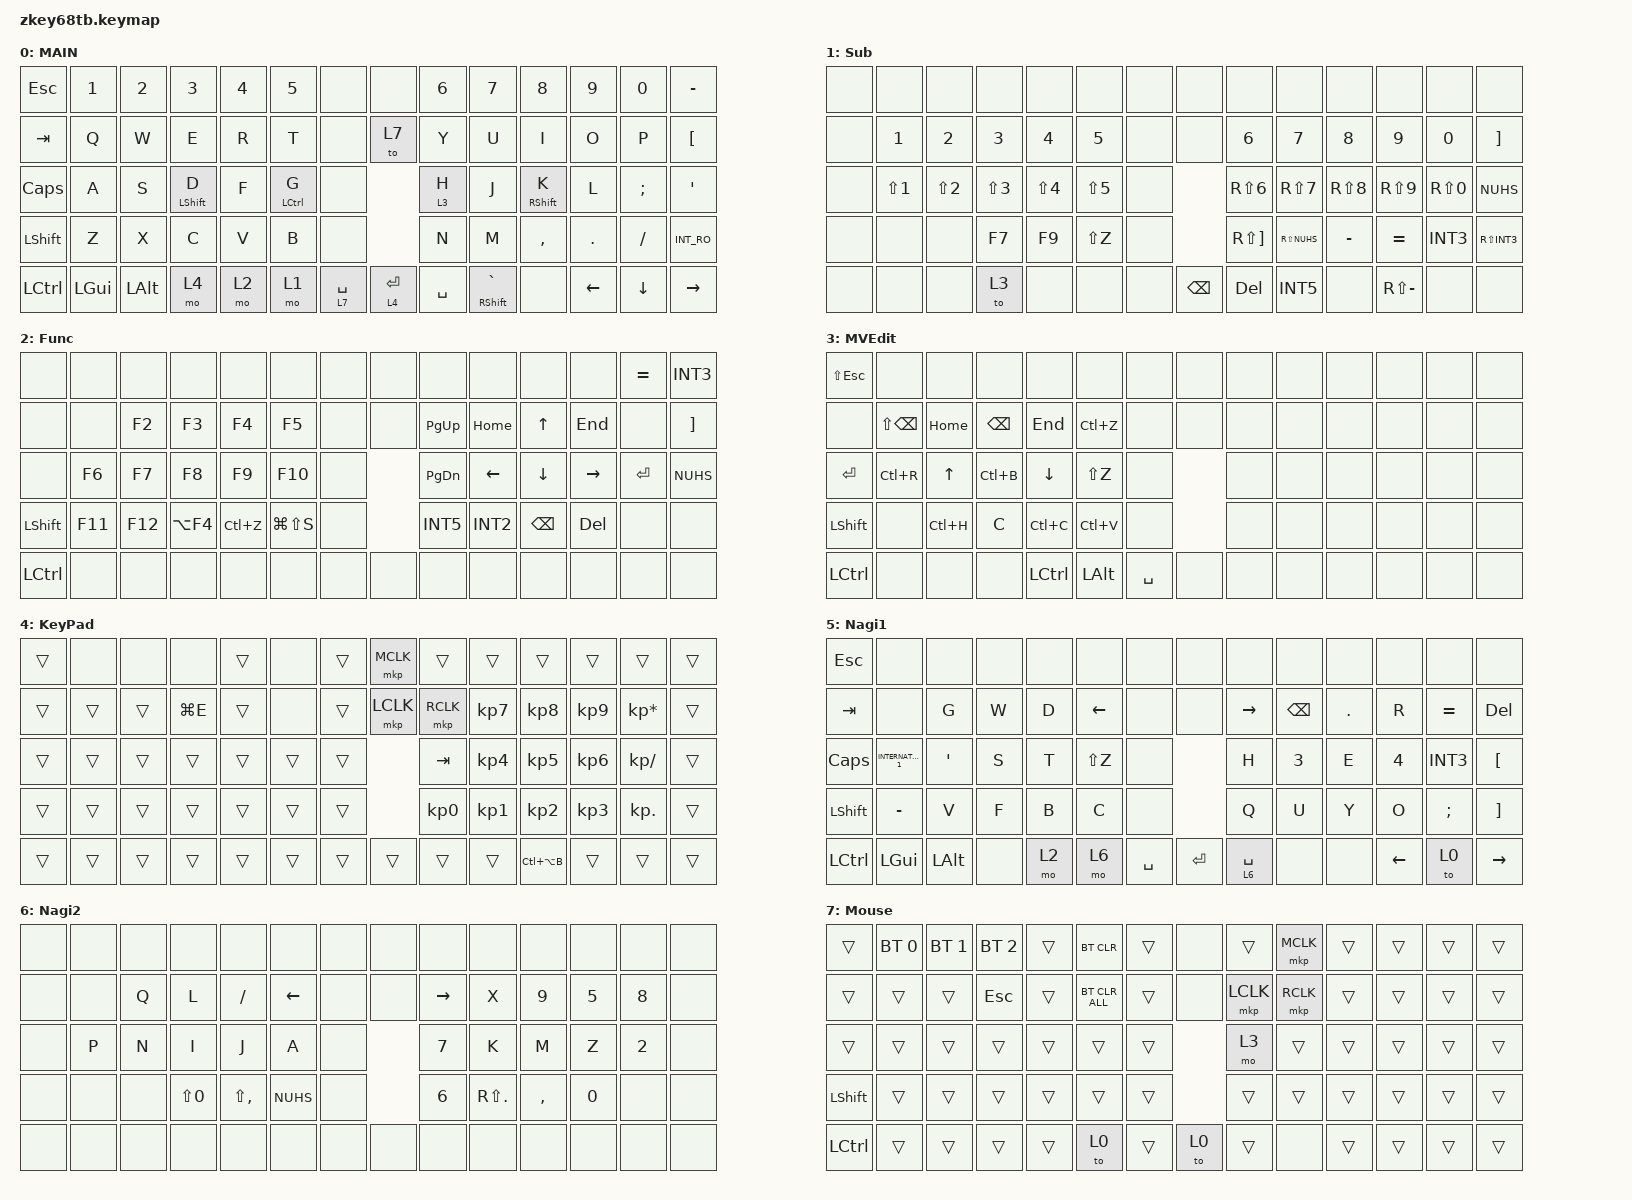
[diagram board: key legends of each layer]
#include <behaviors.dtsi>
#include <dt-bindings/zmk/bt.h>
#include <dt-bindings/zmk/keys.h>
#include <dt-bindings/zmk/pointing.h>

&lt {
    tapping-term-ms = <180>;
    quick-tap-ms = <150>;
    flavor = "balanced";
};

&mt {
    tapping-term-ms = <180>;
    quick-tap-ms = <150>;
    flavor = "balanced";
};

/ {
    combos {
        compatible = "zmk,combos";

        Main {
            bindings = <&to 0>;
            key-positions = <16 18>;
        };

        MVEdit {
            bindings = <&to 3>;
            key-positions = <31 32 30>;
        };

        SoftOff {
            bindings = <&soft_off>;
            key-positions = <0 1 12 13>;
        };

        Kana_Roma_Toggle {
            bindings = <&kp LA(INT_KANA)>;
            key-positions = <11 12 13>;
        };

        cbSingleQ {
            bindings = <&SingleQ>;
            key-positions = <23 24>;
            layers = <0>;
        };

        cbDoubleQ {
            bindings = <&DoubleQ>;
            key-positions = <36 37>;
            layers = <0>;
        };

        cbKakkoNami {
            bindings = <&KakkozNami>;
            key-positions = <49 50>;
            layers = <0>;
        };

        cbKakkoMaru {
            bindings = <&KakkoMaru>;
            key-positions = <24 25>;
            layers = <0>;
        };

        KakkoKagi {
            bindings = <&KakkoKagi>;
            key-positions = <37 38>;
            layers = <0>;
        };

        cbCommand {
            bindings = <&kp LA(LG(SPACE))>;
            key-positions = <62 38>;
        };

        cbLauncher {
            bindings = <&kp LA(SPACE)>;
            key-positions = <62 37>;
        };

        cbCtrlA {
            bindings = <&kp LC(A)>;
            key-positions = <29 30>;
        };

        cbCtrlC {
            bindings = <&kp LC(C)>;
            key-positions = <31 30>;
        };

        cbCtrlV {
            bindings = <&kp LC(V)>;
            key-positions = <32 31>;
        };

        cbCtrlZ {
            bindings = <&kp LC(Z)>;
            key-positions = <42 43>;
        };

        cbCtrlX {
            bindings = <&kp LC(X)>;
            key-positions = <30 32>;
        };

        cbEnter {
            bindings = <&kp ENTER>;
            key-positions = <46 45>;
        };

        // Naginata

        cb_ng_on {
            timeout-ms = <300>;
            key-positions = <8 9 10>;
            bindings = <&ng_on>;
            layers = <0>;
        };

        cb_ng_off {
            timeout-ms = <300>;
            key-positions = <2 4>;
            bindings = <&ng_off>;
            layers = <5>;
        };

        n_ga {
            bindings = <&n_ga>;
            key-positions = <36 32>;
            layers = <5>;
            timeout-ms = <180>;
        };

        n_gi {
            bindings = <&n_gi>;
            key-positions = <36 16>;
            timeout-ms = <180>;
            layers = <5>;
        };

        n_gu {
            bindings = <&n_gu>;
            key-positions = <32 35>;
            timeout-ms = <180>;
            layers = <5>;
        };

        n_ge {
            bindings = <&n_ge>;
            key-positions = <36 30>;
            timeout-ms = <180>;
            layers = <5>;
        };

        n_go {
            bindings = <&n_go>;
            key-positions = <36 45>;
            timeout-ms = <180>;
            layers = <5>;
        };

        n_za {
            bindings = <&n_za>;
            key-positions = <23 32>;
            timeout-ms = <180>;
            layers = <5>;
        };

        n_ji {
            bindings = <&n_ji>;
            key-positions = <36 18>;
            timeout-ms = <180>;
            layers = <5>;
        };

        n_zu {
            bindings = <&n_zu>;
            key-positions = <25 32>;
            timeout-ms = <180>;
            layers = <5>;
        };

        n_ze {
            bindings = <&n_ze>;
            key-positions = <36 29>;
            timeout-ms = <180>;
            layers = <5>;
        };

        n_zo {
            bindings = <&n_zo>;
            key-positions = <46 36>;
            timeout-ms = <180>;
            layers = <5>;
        };

        n_da {
            bindings = <&n_da>;
            key-positions = <48 32>;
            layers = <5>;
            timeout-ms = <180>;
        };

        n_di {
            bindings = <&n_di>;
            key-positions = <33 36>;
            timeout-ms = <180>;
            layers = <5>;
        };

        n_du {
            bindings = <&n_du>;
            key-positions = <38 32>;
            timeout-ms = <180>;
            layers = <5>;
        };

        n_de {
            bindings = <&n_de>;
            key-positions = <36 17>;
            timeout-ms = <180>;
            layers = <5>;
        };

        n_do {
            bindings = <&n_do>;
            key-positions = <36 31>;
            timeout-ms = <180>;
            layers = <5>;
        };

        n_xa {
            bindings = <&kp LS(NUMBER_3)>;
            key-positions = <36 15>;
            timeout-ms = <180>;
            layers = <5>;
        };

        n_xi {
            bindings = <&kp LS(E)>;
            key-positions = <37 15>;
            timeout-ms = <180>;
            layers = <5>;
        };

        n_xu {
            bindings = <&kp LS(N4)>;
            key-positions = <38 15>;
            timeout-ms = <180>;
            layers = <5>;
        };

        n_xe {
            bindings = <&kp LS(NUMBER_5)>;
            key-positions = <15 25>;
            timeout-ms = <180>;
            layers = <5>;
        };

        x_xo {
            bindings = <&kp LS(N6)>;
            key-positions = <1 48>;
            timeout-ms = <180>;
            layers = <5>;
        };

        n_xya {
            bindings = <&kp LS(NUMBER_7)>;
            key-positions = <15 35>;
            timeout-ms = <180>;
            layers = <5>;
        };

        n_xyu {
            bindings = <&kp LS(N8)>;
            key-positions = <15 25>;
            timeout-ms = <180>;
            layers = <5>;
        };

        n_xyo {
            bindings = <&kp LS(N9)>;
            key-positions = <15 24>;
            timeout-ms = <180>;
            layers = <5>;
        };

        n_kya {
            bindings = <&n_kya>;
            key-positions = <16 35>;
            timeout-ms = <180>;
            layers = <5>;
        };

        n_kyu {
            bindings = <&n_kyu>;
            key-positions = <16 25>;
            timeout-ms = <180>;
            layers = <5>;
        };

        n_kyo {
            bindings = <&n_kyo>;
            key-positions = <16 24>;
            timeout-ms = <180>;
            layers = <5>;
        };

        n_sya {
            bindings = <&n_sya>;
            key-positions = <18 35>;
            timeout-ms = <180>;
            layers = <5>;
        };

        n_syu {
            bindings = <&n_syu>;
            key-positions = <18 25>;
            timeout-ms = <180>;
            layers = <5>;
        };

        n_syo {
            bindings = <&n_syo>;
            key-positions = <18 24>;
            timeout-ms = <180>;
            layers = <5>;
        };

        n_cya {
            bindings = <&n_cya>;
            key-positions = <33 35>;
            timeout-ms = <180>;
            layers = <5>;
        };

        n_cyu {
            bindings = <&n_cyu>;
            key-positions = <33 26>;
            timeout-ms = <180>;
            layers = <5>;
        };

        n_cyo {
            bindings = <&n_cyo>;
            key-positions = <33 24>;
            timeout-ms = <180>;
            layers = <5>;
        };

        n_nya {
            bindings = <&n_nya>;
            key-positions = <32 35>;
            timeout-ms = <180>;
            layers = <5>;
        };

        n_nyu {
            bindings = <&n_nyu>;
            key-positions = <32 26>;
            timeout-ms = <180>;
            layers = <5>;
        };

        n_nyo {
            bindings = <&n_nyo>;
            key-positions = <32 25>;
            timeout-ms = <180>;
            layers = <5>;
        };

        n_hya {
            bindings = <&n_hya>;
            key-positions = <43 35>;
            timeout-ms = <180>;
            layers = <5>;
        };

        n_hyu {
            bindings = <&n_hyu>;
            key-positions = <43 26>;
            timeout-ms = <180>;
            layers = <5>;
        };

        n_hyo {
            bindings = <&n_hyo>;
            key-positions = <43 24>;
            timeout-ms = <180>;
            layers = <5>;
        };

        n_mya {
            bindings = <&n_mya>;
            key-positions = <30 35>;
            timeout-ms = <180>;
            layers = <5>;
        };

        n_myu {
            bindings = <&n_myu>;
            key-positions = <30 26>;
            timeout-ms = <180>;
            layers = <5>;
        };

        n_myo {
            bindings = <&n_myo>;
            key-positions = <30 24>;
            timeout-ms = <180>;
            layers = <5>;
        };

        n_rya {
            bindings = <&n_rya>;
            key-positions = <18 35>;
            timeout-ms = <180>;
            layers = <5>;
        };

        n_ryu {
            bindings = <&n_ryu>;
            key-positions = <18 26>;
            timeout-ms = <180>;
            layers = <5>;
        };

        n_ryo {
            bindings = <&n_ryo>;
            key-positions = <18 24>;
            timeout-ms = <180>;
            layers = <5>;
        };

        n_gya {
            bindings = <&n_gya>;
            key-positions = <16 35 36>;
            timeout-ms = <180>;
            layers = <5>;
        };

        n_gyu {
            bindings = <&n_gyu>;
            key-positions = <16 36 26>;
            timeout-ms = <180>;
            layers = <5>;
        };

        n_gyo {
            bindings = <&n_gyo>;
            key-positions = <16 36 24>;
            timeout-ms = <180>;
            layers = <5>;
        };

        n_jya {
            bindings = <&n_jya>;
            key-positions = <18 35 36>;
            timeout-ms = <180>;
            layers = <5>;
        };

        n_jyu {
            bindings = <&n_jyu>;
            key-positions = <18 36 26>;
            timeout-ms = <180>;
            layers = <5>;
        };

        n_jyo {
            bindings = <&n_jyo>;
            key-positions = <18 36 24>;
            timeout-ms = <180>;
            layers = <5>;
        };

        n_dya {
            bindings = <&n_dya>;
            key-positions = <33 35 36>;
            timeout-ms = <180>;
            layers = <5>;
        };

        n_dyu {
            bindings = <&n_dyu>;
            key-positions = <33 36 26>;
            timeout-ms = <180>;
            layers = <5>;
        };

        n_dyo {
            bindings = <&n_dyo>;
            key-positions = <33 36 24>;
            timeout-ms = <180>;
            layers = <5>;
        };

        n_bya {
            bindings = <&n_bya>;
            key-positions = <43 35 36>;
            timeout-ms = <180>;
            layers = <5>;
        };

        n_byu {
            bindings = <&n_byu>;
            key-positions = <43 36 26>;
            timeout-ms = <180>;
            layers = <5>;
        };

        n_byo {
            bindings = <&n_byo>;
            key-positions = <43 36 24>;
            timeout-ms = <180>;
            layers = <5>;
        };

        n_pya {
            bindings = <&n_pya>;
            key-positions = <43 35 49>;
            timeout-ms = <180>;
            layers = <5>;
        };

        n_pyu {
            bindings = <&n_pyu>;
            key-positions = <43 49 26>;
            timeout-ms = <180>;
            layers = <5>;
        };

        n_pyo {
            bindings = <&n_pyo>;
            key-positions = <43 49 24>;
            timeout-ms = <180>;
            layers = <5>;
        };

        n_thi {
            bindings = <&n_thi>;
            key-positions = <17 37>;
            timeout-ms = <180>;
            layers = <5>;
        };

        n_twu {
            bindings = <&n_twu>;
            key-positions = <17 38>;
            timeout-ms = <180>;
            layers = <5>;
        };

        n_dei {
            bindings = <&n_dei>;
            key-positions = <17 36 37>;
            timeout-ms = <180>;
            layers = <5>;
        };

        n_dwu {
            bindings = <&n_dwu>;
            key-positions = <31 36 38>;
            timeout-ms = <180>;
            layers = <5>;
        };

        n_thu {
            bindings = <&n_thu>;
            key-positions = <17 26>;
            timeout-ms = <180>;
            layers = <5>;
        };

        n_dhu {
            bindings = <&n_dhu>;
            key-positions = <17 36 26>;
            timeout-ms = <180>;
            layers = <5>;
        };

        n_shie {
            bindings = <&n_shie>;
            key-positions = <19 25>;
            timeout-ms = <180>;
            layers = <5>;
        };

        n_chie {
            bindings = <&n_chie>;
            key-positions = <33 25>;
            timeout-ms = <180>;
            layers = <5>;
        };

        n_jie {
            bindings = <&n_jie>;
            key-positions = <19 36 25>;
            timeout-ms = <180>;
            layers = <5>;
        };

        n_je {
            bindings = <&n_je>;
            key-positions = <33 36 25>;
            timeout-ms = <180>;
            layers = <5>;
        };
    };

    macros {
        KanaToLY0: KanaToLY0 {
            compatible = "zmk,behavior-macro";
            #binding-cells = <0>;
            bindings = <&kp INT2>, <&macro_wait_time 20>, <&to 0>;

            label = "KANATOLY0";
        };

        SingleQ: SingleQ {
            compatible = "zmk,behavior-macro";
            #binding-cells = <0>;
            bindings = <&kp LS(N7) &kp LS(N7) &kp LEFT>;
            label = "SINGLEQ";
        };

        DoubleQ: DoubleQ {
            compatible = "zmk,behavior-macro";
            #binding-cells = <0>;
            bindings = <&kp LS(N2) &kp LS(N2) &kp LEFT>;
            label = "DOUBLEQ";
        };

        KakkoKagi: KakkoKagi {
            compatible = "zmk,behavior-macro";
            #binding-cells = <0>;
            bindings = <&kp LS(RIGHT_BRACKET) &kp LS(NUHS) &kp LEFT>;
            label = "KAKKOKAGI";
        };

        KakkozNami: KakkozNami {
            compatible = "zmk,behavior-macro";
            #binding-cells = <0>;
            bindings = <&kp RIGHT_BRACKET &kp NUHS &kp LEFT>;
            label = "KAKKOZNAMI";
        };

        KakkoMaru: KakkoMaru {
            compatible = "zmk,behavior-macro";
            #binding-cells = <0>;
            bindings = <&kp LS(N8) &kp LS(N9) &kp LEFT>;
            label = "KAKKOMARU";
        };

        // Naginata

        ng_on: ng_on {
            compatible = "zmk,behavior-macro";
            #binding-cells = <0>;
            bindings = <&macro_tap>, <&kp LANG1 &kp INT4 &to 5>;

            label = "NG_ON";
        };

        ng_off: ng_off {
            compatible = "zmk,behavior-macro";
            #binding-cells = <0>;
            bindings = <&macro_tap>, <&kp LANG2 &kp INT5 &to 0>;

            label = "NG_OFF";
        };

        n_ga: n_ga {
            compatible = "zmk,behavior-macro";
            #binding-cells = <0>;
            bindings = <&kp T &kp LEFT_BRACKET>;
            label = "N_GA";
        };

        n_gi: n_gi {
            compatible = "zmk,behavior-macro";
            #binding-cells = <0>;
            bindings = <&kp G &kp LEFT_BRACKET>;
            label = "N_GI";
        };

        n_gu: n_gu {
            compatible = "zmk,behavior-macro";
            #binding-cells = <0>;
            bindings = <&kp H &kp LEFT_BRACKET>;
            label = "N_GU";
        };

        n_ge: n_ge {
            compatible = "zmk,behavior-macro";
            #binding-cells = <0>;
            bindings = <&kp SQT &kp LEFT_BRACKET>;
            label = "N_GE";
        };

        n_go: n_go {
            compatible = "zmk,behavior-macro";
            #binding-cells = <0>;
            bindings = <&kp B &kp LEFT_BRACKET>;
            label = "N_GO";
        };

        n_za: n_za {
            compatible = "zmk,behavior-macro";
            #binding-cells = <0>;
            bindings = <&kp X &kp LEFT_BRACKET>;
            label = "N_ZA";
        };

        n_ji: n_ji {
            compatible = "zmk,behavior-macro";
            #binding-cells = <0>;
            bindings = <&kp D &kp LEFT_BRACKET>;
            label = "N_JI";
        };

        n_zu: n_zu {
            compatible = "zmk,behavior-macro";
            #binding-cells = <0>;
            bindings = <&kp R &kp LEFT_BRACKET>;
            label = "N_ZU";
        };

        n_ze: n_ze {
            compatible = "zmk,behavior-macro";
            #binding-cells = <0>;
            bindings = <&kp P &kp LEFT_BRACKET>;
            label = "N_ZE";
        };

        n_zo: n_zo {
            compatible = "zmk,behavior-macro";
            #binding-cells = <0>;
            bindings = <&kp C &kp LEFT_BRACKET>;
            label = "N_ZO";
        };

        n_da: n_da {
            compatible = "zmk,behavior-macro";
            #binding-cells = <0>;
            bindings = <&kp Q &kp LEFT_BRACKET>;
            label = "N_DA";
        };

        n_di: n_di {
            compatible = "zmk,behavior-macro";
            #binding-cells = <0>;
            bindings = <&kp A &kp LEFT_BRACKET>;
            label = "N_DI";
        };

        n_du: n_du {
            compatible = "zmk,behavior-macro";
            #binding-cells = <0>;
            bindings = <&kp Z &kp LEFT_BRACKET>;
            label = "N_DU";
        };

        n_de: n_de {
            compatible = "zmk,behavior-macro";
            #binding-cells = <0>;
            bindings = <&kp W &kp LEFT_BRACKET>;
            label = "N_DE";
        };

        n_do: n_do {
            compatible = "zmk,behavior-macro";
            #binding-cells = <0>;
            bindings = <&kp S &kp LEFT_BRACKET>;
            label = "N_DO";
        };

        n_kya: n_kya {
            compatible = "zmk,behavior-macro";
            #binding-cells = <0>;
            bindings = <&kp G &kp LS(N7)>;
            label = "N_KYA";
        };

        n_kyu: n_kyu {
            compatible = "zmk,behavior-macro";
            #binding-cells = <0>;
            bindings = <&kp G &kp LS(N8)>;
            label = "N_KYU";
        };

        n_kyo: n_kyo {
            compatible = "zmk,behavior-macro";
            #binding-cells = <0>;
            bindings = <&kp G &kp LS(N9)>;
            label = "N_KYO";
        };

        n_sya: n_sya {
            compatible = "zmk,behavior-macro";
            #binding-cells = <0>;
            bindings = <&kp D &kp LS(N7)>;
            label = "N_SYA";
        };

        n_syu: n_syu {
            compatible = "zmk,behavior-macro";
            #binding-cells = <0>;
            bindings = <&kp D &kp LS(N8)>;
            label = "N_SYU";
        };

        n_syo: n_syo {
            compatible = "zmk,behavior-macro";
            #binding-cells = <0>;
            bindings = <&kp D &kp LS(N9)>;
            label = "N_SYO";
        };

        n_cya: n_cya {
            compatible = "zmk,behavior-macro";
            #binding-cells = <0>;
            bindings = <&kp A &kp LS(N7)>;
            label = "N_CYA";
        };

        n_cyu: n_cyu {
            compatible = "zmk,behavior-macro";
            #binding-cells = <0>;
            bindings = <&kp A &kp LS(N8)>;
            label = "N_CYU";
        };

        n_cyo: n_cyo {
            compatible = "zmk,behavior-macro";
            #binding-cells = <0>;
            bindings = <&kp A &kp LS(N9)>;
            label = "N_CYO";
        };

        n_nya: n_nya {
            compatible = "zmk,behavior-macro";
            #binding-cells = <0>;
            bindings = <&kp I &kp LS(N7)>;
            label = "N_NYA";
        };

        n_nyu: n_nyu {
            compatible = "zmk,behavior-macro";
            #binding-cells = <0>;
            bindings = <&kp I &kp LS(N8)>;
            label = "N_NYU";
        };

        n_nyo: n_nyo {
            compatible = "zmk,behavior-macro";
            #binding-cells = <0>;
            bindings = <&kp I &kp LS(N9)>;
            label = "N_NYO";
        };

        n_hya: n_hya {
            compatible = "zmk,behavior-macro";
            #binding-cells = <0>;
            bindings = <&kp V &kp LS(N7)>;
            label = "N_HYA";
        };

        n_hyu: n_hyu {
            compatible = "zmk,behavior-macro";
            #binding-cells = <0>;
            bindings = <&kp V &kp LS(N8)>;
            label = "N_HYU";
        };

        n_hyo: n_hyo {
            compatible = "zmk,behavior-macro";
            #binding-cells = <0>;
            bindings = <&kp V &kp LS(N9)>;
            label = "N_HYO";
        };

        n_mya: n_mya {
            compatible = "zmk,behavior-macro";
            #binding-cells = <0>;
            bindings = <&kp N &kp LS(N7)>;
            label = "N_MYA";
        };

        n_myu: n_myu {
            compatible = "zmk,behavior-macro";
            #binding-cells = <0>;
            bindings = <&kp N &kp LS(N8)>;
            label = "N_MYU";
        };

        n_myo: n_myo {
            compatible = "zmk,behavior-macro";
            #binding-cells = <0>;
            bindings = <&kp N &kp LS(N9)>;
            label = "N_MYO";
        };

        n_rya: n_rya {
            compatible = "zmk,behavior-macro";
            #binding-cells = <0>;
            bindings = <&kp L &kp LS(N7)>;
            label = "N_RYA";
        };

        n_ryu: n_ryu {
            compatible = "zmk,behavior-macro";
            #binding-cells = <0>;
            bindings = <&kp L &kp LS(N8)>;
            label = "N_RYU";
        };

        n_ryo: n_ryo {
            compatible = "zmk,behavior-macro";
            #binding-cells = <0>;
            bindings = <&kp L &kp LS(N9)>;
            label = "N_RYO";
        };

        n_gya: n_gya {
            compatible = "zmk,behavior-macro";
            #binding-cells = <0>;
            bindings = <&kp G &kp LEFT_BRACKET &kp LS(N7)>;
            label = "N_GYA";
        };

        n_gyu: n_gyu {
            compatible = "zmk,behavior-macro";
            #binding-cells = <0>;
            bindings = <&kp G &kp LEFT_BRACKET &kp LS(N8)>;
            label = "N_GYU";
        };

        n_gyo: n_gyo {
            compatible = "zmk,behavior-macro";
            #binding-cells = <0>;
            bindings = <&kp G &kp LEFT_BRACKET &kp LS(N9)>;
            label = "N_GYO";
        };

        n_jya: n_jya {
            compatible = "zmk,behavior-macro";
            #binding-cells = <0>;
            bindings = <&kp D &kp LEFT_BRACKET &kp LS(N7)>;
            label = "N_JYA";
        };

        n_jyu: n_jyu {
            compatible = "zmk,behavior-macro";
            #binding-cells = <0>;
            bindings = <&kp D &kp LEFT_BRACKET &kp LS(N8)>;
            label = "N_JYU";
        };

        n_jyo: n_jyo {
            compatible = "zmk,behavior-macro";
            #binding-cells = <0>;
            bindings = <&kp D &kp LEFT_BRACKET &kp LS(N9)>;
            label = "N_JYO";
        };

        n_dya: n_dya {
            compatible = "zmk,behavior-macro";
            #binding-cells = <0>;
            bindings = <&kp A &kp LEFT_BRACKET &kp LS(N7)>;
            label = "N_DYA";
        };

        n_dyu: n_dyu {
            compatible = "zmk,behavior-macro";
            #binding-cells = <0>;
            bindings = <&kp A &kp LEFT_BRACKET &kp LS(N8)>;
            label = "N_DYU";
        };

        n_dyo: n_dyo {
            compatible = "zmk,behavior-macro";
            #binding-cells = <0>;
            bindings = <&kp A &kp LEFT_BRACKET &kp LS(N9)>;
            label = "N_DYO";
        };

        n_bya: n_bya {
            compatible = "zmk,behavior-macro";
            #binding-cells = <0>;
            bindings = <&kp V &kp LEFT_BRACKET &kp LS(N7)>;
            label = "N_BYA";
        };

        n_byu: n_byu {
            compatible = "zmk,behavior-macro";
            #binding-cells = <0>;
            bindings = <&kp V &kp LEFT_BRACKET &kp LS(N8)>;
            label = "N_BYU";
        };

        n_byo: n_byo {
            compatible = "zmk,behavior-macro";
            #binding-cells = <0>;
            bindings = <&kp V &kp LEFT_BRACKET &kp LS(N9)>;
            label = "N_BYO";
        };

        n_pya: n_pya {
            compatible = "zmk,behavior-macro";
            #binding-cells = <0>;
            bindings = <&kp V &kp RIGHT_BRACKET &kp LS(N7)>;
            label = "N_PYA";
        };

        n_pyu: n_pyu {
            compatible = "zmk,behavior-macro";
            #binding-cells = <0>;
            bindings = <&kp V &kp RIGHT_BRACKET &kp LS(N8)>;
            label = "N_PYU";
        };

        n_pyo: n_pyo {
            compatible = "zmk,behavior-macro";
            #binding-cells = <0>;
            bindings = <&kp V &kp RIGHT_BRACKET &kp LS(N9)>;
            label = "N_PYO";
        };

        n_thi: n_thi {
            compatible = "zmk,behavior-macro";
            #binding-cells = <0>;
            bindings = <&kp W &kp LS(E)>;
            label = "N_THI";
        };

        n_twu: n_twu {
            compatible = "zmk,behavior-macro";
            #binding-cells = <0>;
            bindings = <&kp S &kp LS(N4)>;
            label = "N_TWU";
        };

        n_dei: n_dei {
            compatible = "zmk,behavior-macro";
            #binding-cells = <0>;
            bindings = <&kp W &kp LEFT_BRACKET &kp LS(E)>;
            label = "N_DEI";
        };

        n_dwu: n_dwu {
            compatible = "zmk,behavior-macro";
            #binding-cells = <0>;
            bindings = <&kp S &kp LEFT_BRACKET &kp LS(N4)>;
            label = "N_DWU";
        };

        n_thu: n_thu {
            compatible = "zmk,behavior-macro";
            #binding-cells = <0>;
            bindings = <&kp W &kp LS(N8)>;
            label = "N_THU";
        };

        n_dhu: n_dhu {
            compatible = "zmk,behavior-macro";
            #binding-cells = <0>;
            bindings = <&kp W &kp LEFT_BRACKET &kp LS(N8)>;
            label = "N_DHU";
        };

        n_shie: n_shie {
            compatible = "zmk,behavior-macro";
            #binding-cells = <0>;
            bindings = <&kp D &kp LS(N5)>;
            label = "N_SHIE";
        };

        n_chie: n_chie {
            compatible = "zmk,behavior-macro";
            #binding-cells = <0>;
            bindings = <&kp A &kp LS(N5)>;
            label = "N_CHIE";
        };

        n_jie: n_jie {
            compatible = "zmk,behavior-macro";
            #binding-cells = <0>;
            bindings = <&kp D &kp LEFT_BRACKET &kp LS(N5)>;
            label = "N_JIE";
        };

        n_je: n_je {
            compatible = "zmk,behavior-macro";
            #binding-cells = <0>;
            bindings = <&kp A &kp LEFT_BRACKET &kp LS(N5)>;
            label = "N_JE";
        };
    };

    behaviors {
        hm: homerow_mods {
            compatible = "zmk,behavior-hold-tap";
            label = "homerow_mods";
            bindings = <&kp>, <&kp>;

            #binding-cells = <2>;
            tapping-term-ms = <200>;
            flavor = "tap-preferred";
        };

        lt_repeat: lt_repeat {
            compatible = "zmk,behavior-hold-tap";
            label = "LAYER_TAP_REPEAT";
            bindings = <&mo>, <&kp>;

            #binding-cells = <2>;
            flavor = "hold-preferred";  // 長押しを少し強めに優先
            tapping-term-ms = <1000>;   // 長押し判定 (好みに応じて200～300で調整)
            quick-tap-ms = <900>;       // タップ+長押しでリピートさせる時間
        };
    };

    keymap {
        compatible = "zmk,keymap";

        Main {
            bindings = <
&kp ESC    &kp N1    &kp N2    &kp N3            &kp N4  &kp N5       &none               &none               &kp NUMBER_6  &kp N7                 &kp N8             &kp N9          &kp N0    &kp MINUS
&kp TAB    &kp Q     &kp W     &kp E             &kp R   &kp T        &none               &to 7               &kp Y         &kp U                  &kp I              &kp O           &kp P     &kp LBKT
&kp CAPS   &kp A     &kp S     &hm LEFT_SHIFT D  &kp F   &hm LCTRL G  &none                                   &lt 3 H       &kp J                  &hm RIGHT_SHIFT K  &kp L           &kp SEMI  &kp SQT
&kp LSHFT  &kp Z     &kp X     &kp C             &kp V   &kp B        &none                                   &kp N         &kp M                  &kp COMMA          &kp DOT         &kp FSLH  &kp INT_RO
&kp LCTRL  &kp LGUI  &kp LALT  &mo 4             &mo 2   &mo 1        &lt_repeat 7 SPACE  &lt_repeat 4 ENTER  &kp SPACE     &mt RIGHT_SHIFT GRAVE  &none              &kp LEFT_ARROW  &kp DOWN  &kp RIGHT
            >;

            label = "MAIN";
        };

        Sub {
            bindings = <
&none  &none       &none       &none       &none       &none       &none  &none          &none         &none         &none       &none          &none       &none
&none  &kp N1      &kp N2      &kp N3      &kp N4      &kp N5      &none  &none          &kp N6        &kp N7        &kp N8      &kp N9         &kp N0      &kp RBKT
&none  &kp LS(N1)  &kp LS(N2)  &kp LS(N3)  &kp LS(N4)  &kp LS(N5)  &none                 &kp RS(N6)    &kp RS(N7)    &kp RS(N8)  &kp RS(N9)     &kp RS(N0)  &kp NUHS
&none  &none       &none       &kp F7      &kp F9      &kp LS(Z)   &none                 &kp RS(RBKT)  &kp RS(NUHS)  &kp MINUS   &kp EQUAL      &kp INT3    &kp RS(INT3)
&none  &none       &none       &to 3       &none       &none       &none  &kp BACKSPACE  &kp DELETE    &kp INT5      &none       &kp RS(MINUS)  &none       &none
            >;

            label = "Sub";
        };

        Func {
            bindings = <
&none      &none    &none    &none       &none      &none          &none  &none  &none          &none     &none          &none       &kp EQUAL  &kp INT3
&none      &none    &kp F2   &kp F3      &kp F4     &kp F5         &none  &none  &kp PG_UP      &kp HOME  &kp UP         &kp END     &none      &kp RBKT
&none      &kp F6   &kp F7   &kp F8      &kp F9     &kp F10        &none         &kp PAGE_DOWN  &kp LEFT  &kp DOWN       &kp RIGHT   &kp ENTER  &kp NUHS
&kp LSHFT  &kp F11  &kp F12  &kp LA(F4)  &kp LC(Z)  &kp LG(LS(S))  &none         &kp INT5       &kp INT2  &kp BACKSPACE  &kp DELETE  &none      &none
&kp LCTRL  &none    &none    &none       &none      &none          &none  &none  &none          &none     &none          &none       &none      &none
            >;

            label = "Func";
        };

        MVEdit {
            bindings = <
&kp LS(ESCAPE)    &none              &none         &none          &none             &none         &none      &none  &none  &none  &none  &none  &none  &none
&none             &kp LS(BACKSPACE)  &kp HOME      &kp BACKSPACE  &kp END           &kp LC(Z)     &none      &none  &none  &none  &none  &none  &none  &none
&kp ENTER         &kp LC(R)          &kp UP_ARROW  &kp LC(B)      &kp DOWN          &kp LS(Z)     &none             &none  &none  &none  &none  &none  &none
&kp LEFT_SHIFT    &none              &kp LC(H)     &kp C          &kp LC(C)         &kp LC(V)     &none             &none  &none  &none  &none  &none  &none
&kp LEFT_CONTROL  &none              &none         &none          &kp LEFT_CONTROL  &kp LEFT_ALT  &kp SPACE  &none  &none  &none  &none  &none  &none  &none
            >;

            label = "MVEdit";
        };

        KeyPad {
            bindings = <
&trans  &none   &none   &none      &trans  &none   &trans  &mkp MCLK  &trans           &trans           &trans         &trans     &trans           &trans
&trans  &trans  &trans  &kp LG(E)  &trans  &none   &trans  &mkp LCLK  &mkp RCLK        &kp KP_N7        &kp KP_N8      &kp KP_N9  &kp KP_MULTIPLY  &trans
&trans  &trans  &trans  &trans     &trans  &trans  &trans             &kp TAB          &kp KP_N4        &kp KP_N5      &kp KP_N6  &kp KP_SLASH     &trans
&trans  &trans  &trans  &trans     &trans  &trans  &trans             &kp KP_NUMBER_0  &kp KP_NUMBER_1  &kp KP_N2      &kp KP_N3  &kp KP_DOT       &trans
&trans  &trans  &trans  &trans     &trans  &trans  &trans  &trans     &trans           &trans           &kp LC(LA(B))  &trans     &trans           &trans
            >;

            label = "KeyPad";
        };

        Nagi1 {
            bindings = <
&kp ESCAPE      &none                &none     &none  &none  &none           &none      &none      &none            &none          &none    &none           &none      &none
&kp TAB         &none                &kp G     &kp W  &kp D  &kp LEFT_ARROW  &none      &none      &kp RIGHT_ARROW  &kp BACKSPACE  &kp DOT  &kp R           &kp EQUAL  &kp DELETE
&kp CAPSLOCK    &kp INTERNATIONAL_1  &kp SQT   &kp S  &kp T  &kp LS(Z)       &none                 &kp H            &kp N3         &kp E    &kp N4          &kp INT3   &kp LEFT_BRACKET
&kp LEFT_SHIFT  &kp MINUS            &kp V     &kp F  &kp B  &kp C           &none                 &kp Q            &kp U          &kp Y    &kp O           &kp SEMI   &kp RIGHT_BRACKET
&kp LCTRL       &kp LEFT_GUI         &kp LALT  &none  &mo 2  &mo 6           &kp SPACE  &kp ENTER  &lt 6 SPACE      &none          &none    &kp LEFT_ARROW  &to 0      &kp RIGHT_ARROW
            >;

            label = "Nagi1";
        };

        Nagi2 {
            bindings = <
&none  &none  &none  &none       &none          &none           &none  &none  &none      &none        &none      &none   &none   &none
&none  &none  &kp Q  &kp L       &kp FSLH       &kp LEFT_ARROW  &none  &none  &kp RIGHT  &kp X        &kp N9     &kp N5  &kp N8  &none
&none  &kp P  &kp N  &kp I       &kp J          &kp A           &none         &kp N7     &kp K        &kp M      &kp Z   &kp N2  &none
&none  &none  &none  &kp LS(N0)  &kp LS(COMMA)  &kp NUHS        &none         &kp N6     &kp RS(DOT)  &kp COMMA  &kp N0  &none   &none
&none  &none  &none  &none       &none          &none           &none  &none  &none      &none        &none      &none   &none   &none
            >;

            label = "Nagi2";
        };

        Mouse {
            bindings = <
&trans          &bt BT_SEL 0  &bt BT_SEL 1  &bt BT_SEL 2  &trans  &bt BT_CLR      &trans  &none  &trans     &mkp MCLK  &trans  &trans  &trans  &trans
&trans          &trans        &trans        &kp ESCAPE    &trans  &bt BT_CLR_ALL  &trans  &none  &mkp LCLK  &mkp RCLK  &trans  &trans  &trans  &trans
&trans          &trans        &trans        &trans        &trans  &trans          &trans         &mo 3      &trans     &trans  &trans  &trans  &trans
&kp LEFT_SHIFT  &trans        &trans        &trans        &trans  &trans          &trans         &trans     &trans     &trans  &trans  &trans  &trans
&kp LCTRL       &trans        &trans        &trans        &trans  &to 0           &trans  &to 0  &trans     &none      &trans  &trans  &trans  &trans
            >;

            label = "Mouse";
        };
    };
};
